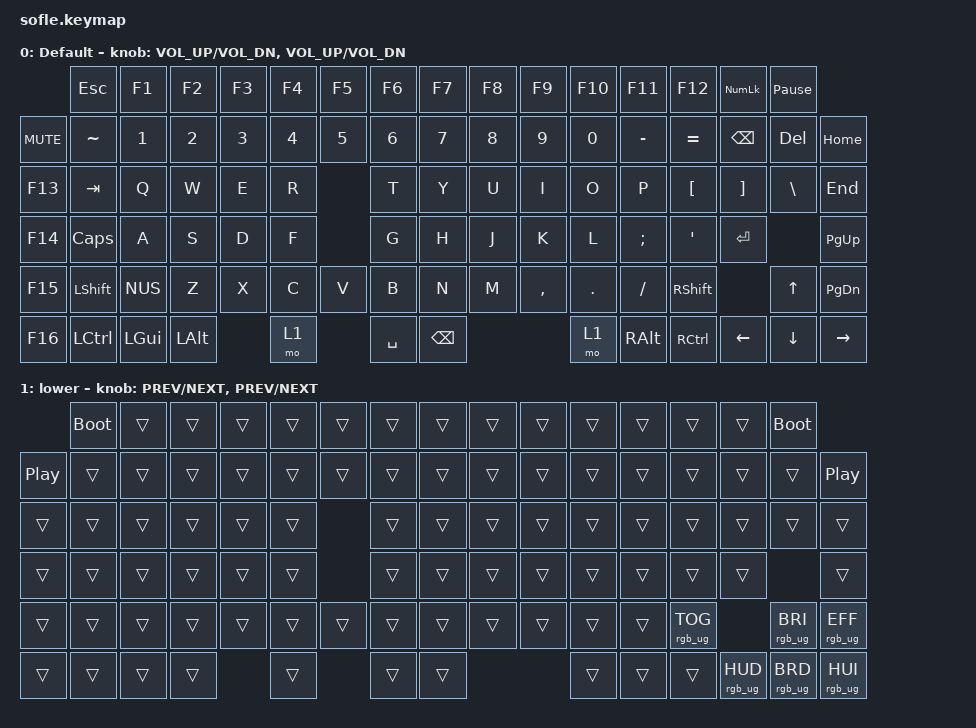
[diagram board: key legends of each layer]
/*
 * Copyright (c) 2020 The ZMK Contributors
 *
 * SPDX-License-Identifier: MIT
 */


#include <behaviors.dtsi>
#include <dt-bindings/zmk/keys.h>
#include <dt-bindings/zmk/bt.h>
#include <dt-bindings/zmk/rgb.h>
#include <dt-bindings/zmk/ext_power.h>

#define BASE 0
#define LOWER 1
#define RAISE 2
#define ADJUST 3

/ {

   // Activate ADJUST layer by pressing raise and lower
    conditional_layers {
        compatible = "zmk,conditional-layers";
        adjust_layer {
            if-layers = <LOWER RAISE>;
            then-layer = <ADJUST>;
        };
    };

    keymap {
        compatible = "zmk,keymap";

        default_layer {
			label = "Default";
			sensor-bindings = <&inc_dec_kp C_VOL_UP C_VOL_DN &inc_dec_kp C_VOL_UP C_VOL_DN>;
			bindings = <
             &kp ESC     &kp F1   &kp F2   &kp F3   &kp F4   &kp F5   &kp F6     &kp F7   &kp F8   &kp F9    &kp F10  &kp F11     &kp F12     &kp KP_NUM   &kp PAUSE_BREAK
&kp C_MUTE   &kp TILDE   &kp N1   &kp N2   &kp N3   &kp N4   &kp N5   &kp N6     &kp N7   &kp N8   &kp N9    &kp N0   &kp MINUS   &kp EQUAL   &kp BSPC     &kp DEL    &kp HOME
&kp F13      &kp TAB     &kp Q    &kp W    &kp E    &kp R             &kp T      &kp Y    &kp U    &kp I     &kp O    &kp P       &kp LBKT    &kp RBKT     &kp BSLH   &kp END
&kp F14      &kp CLCK    &kp A    &kp S    &kp D    &kp F             &kp G      &kp H    &kp J    &kp K     &kp L    &kp SEMI    &kp SQT     &kp RET                 &kp PG_UP
&kp F15      &kp LSHFT   &kp NUS  &kp Z    &kp X    &kp C    &kp V    &kp B      &kp N    &kp M    &kp COMMA &kp DOT  &kp FSLH    &kp RSHFT                &kp UP     &kp PG_DN
&kp F16      &kp LCTRL   &kp LGUI &kp LALT          &mo 1            &kp SPACE    &kp BSPC                   &mo 1    &kp RALT    &kp RCTRL   &kp LEFT     &kp DOWN   &kp RIGHT
			>;
		};

        lower_layer {
			label = "lower";
			sensor-bindings = <&inc_dec_kp C_PREV C_NEXT &inc_dec_kp C_PREV C_NEXT>;
			bindings = <
             &bootloader &trans   &trans   &trans   &trans   &trans   &trans     &trans   &trans   &trans   &trans    &trans      &trans      &trans       &bootloader
&kp C_PP     &trans      &trans   &trans   &trans   &trans   &trans   &trans     &trans   &trans   &trans   &trans    &trans      &trans      &trans       &trans     &kp C_PP
&trans       &trans      &trans   &trans   &trans   &trans            &trans     &trans   &trans   &trans   &trans    &trans      &trans      &trans       &trans     &trans 
&trans       &trans      &trans   &trans   &trans   &trans            &trans     &trans   &trans   &trans   &trans    &trans      &trans                   &trans     &trans
&trans       &trans      &trans   &trans   &trans   &trans   &trans   &trans     &trans   &trans   &trans   &trans    &trans          &rgb_ug RGB_TOG &rgb_ug RGB_BRI &rgb_ug RGB_EFF
&trans       &trans      &trans   &trans            &trans           &trans       &trans                    &trans    &trans  &trans  &rgb_ug RGB_HUD &rgb_ug RGB_BRD &rgb_ug RGB_HUI
			>;

         };
    };
};
